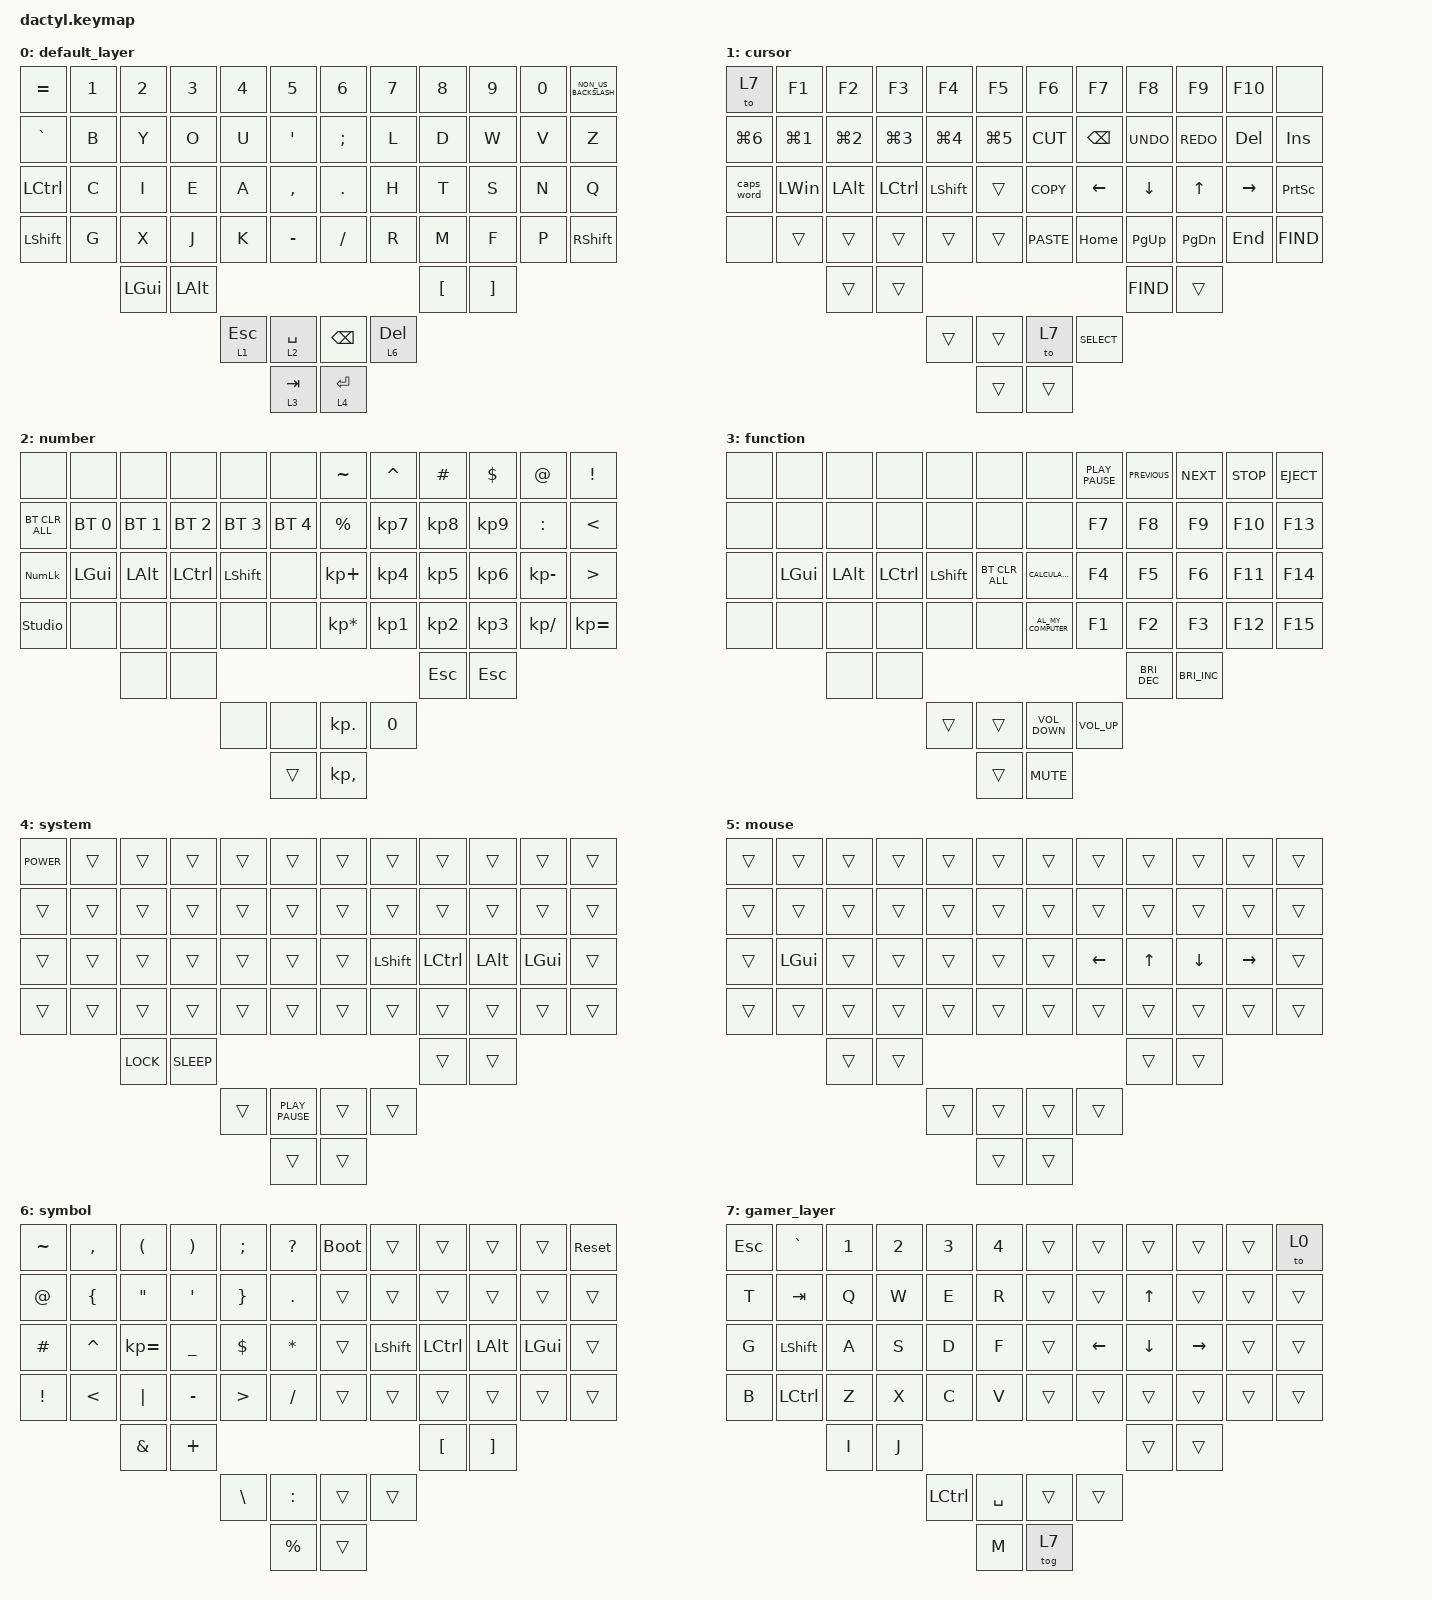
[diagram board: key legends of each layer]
#include <behaviors.dtsi>
#include <dt-bindings/zmk/bt.h>
#include <dt-bindings/zmk/keys.h>

#define DEFAULT 0
#define LOWER 1
#define RAISE 2
#define GAMER 3
#define BOTH 4

/ {
    keymap {
        compatible = "zmk,keymap";

        default_layer {
            bindings = <
&kp EQUAL   &kp N1  &kp N2        &kp N3        &kp N4        &kp N5         &kp N6         &kp N7        &kp N8            &kp N9             &kp N0  &kp NON_US_BACKSLASH
&kp GRAVE   &kp B   &kp Y         &kp O         &kp U         &kp SQT        &kp SEMICOLON  &kp L         &kp D             &kp W              &kp V   &kp Z
&kp LCTRL   &kp C   &kp I         &kp E         &kp A         &kp COMMA      &kp PERIOD     &kp H         &kp T             &kp S              &kp N   &kp Q
&kp LSHIFT  &kp G   &kp X         &kp J         &kp K         &kp MINUS      &kp SLASH      &kp R         &kp M             &kp F              &kp P   &kp RSHIFT
                    &kp LEFT_GUI  &kp LEFT_ALT                                                            &kp LEFT_BRACKET  &kp RIGHT_BRACKET
                                                &lt 1 ESCAPE  &lt 2 SPACE    &kp BACKSPACE  &lt 6 DELETE
                                                              &lt 3 TAB      &lt 4 ENTER
            >;
        };

        cursor {
            bindings = <
&to 7             &kp F1            &kp F2            &kp F3            &kp F4            &kp F5        &kp F6       &kp F7         &kp F8          &kp F9         &kp F10     &none
&kp LG(NUMBER_6)  &kp LG(NUMBER_1)  &kp LG(NUMBER_2)  &kp LG(NUMBER_3)  &kp LG(NUMBER_4)  &kp LG(N5)    &kp K_CUT    &kp BACKSPACE  &kp K_UNDO      &kp K_REDO     &kp DELETE  &kp INS
&caps_word        &kp LEFT_WIN      &kp LEFT_ALT      &kp LEFT_CONTROL  &kp LEFT_SHIFT    &trans        &kp K_COPY   &kp LEFT       &kp DOWN_ARROW  &kp UP_ARROW   &kp RIGHT   &kp PRINTSCREEN
&none             &trans            &trans            &trans            &trans            &trans        &kp K_PASTE  &kp HOME       &kp PAGE_UP     &kp PAGE_DOWN  &kp END     &kp K_FIND
                                    &trans            &trans                                                                        &kp K_FIND      &trans
                                                                        &trans            &trans        &to 7        &kp K_SELECT
                                                                                          &trans        &trans
            >;
        };

        number {
            bindings = <
&none           &none         &none         &none         &none         &none           &kp TILDE        &kp CARET        &kp POUND        &kp DOLLAR       &kp AT_SIGN      &kp EXCLAMATION
&bt BT_CLR_ALL  &bt BT_SEL 0  &bt BT_SEL 1  &bt BT_SEL 2  &bt BT_SEL 3  &bt BT_SEL 4    &kp PERCENT      &kp KP_NUMBER_7  &kp KP_NUMBER_8  &kp KP_NUMBER_9  &kp COLON        &kp LESS_THAN
&kp KP_NUMLOCK  &kp LGUI      &kp LALT      &kp LCTRL     &kp LSHFT     &none           &kp KP_PLUS      &kp KP_NUMBER_4  &kp KP_NUMBER_5  &kp KP_NUMBER_6  &kp KP_SUBTRACT  &kp GREATER_THAN
&studio_unlock           &none         &none         &none         &none         &none           &kp KP_MULTIPLY  &kp KP_NUMBER_1  &kp KP_NUMBER_2  &kp KP_NUMBER_3  &kp KP_DIVIDE    &kp KP_EQUAL
                              &none         &none                                                                         &kp ESC          &kp ESC
                                                          &none         &none           &kp KP_DOT       &kp N0
                                                                        &trans          &kp KP_COMMA
            >;
        };

        function {
            bindings = <
&none  &none     &none     &none      &none      &none             &none                 &kp K_PLAY_PAUSE  &kp K_PREVIOUS        &kp K_NEXT            &kp K_STOP  &kp K_EJECT
&none  &none     &none     &none      &none      &none             &none                 &kp F7            &kp F8                &kp F9                &kp F10     &kp F13
&none  &kp LGUI  &kp LALT  &kp LCTRL  &kp LSHFT  &bt BT_CLR_ALL    &kp K_CALCULATOR      &kp F4            &kp F5                &kp F6                &kp F11     &kp F14
&none  &none     &none     &none      &none      &none             &kp C_AL_MY_COMPUTER  &kp F1            &kp F2                &kp F3                &kp F12     &kp F15
                 &none     &none                                                                           &kp C_BRIGHTNESS_DEC  &kp C_BRIGHTNESS_INC
                                      &trans     &trans            &kp K_VOLUME_DOWN     &kp K_VOLUME_UP
                                                 &trans            &kp C_MUTE
            >;
        };

        system {
            bindings = <
&kp K_POWER  &trans  &trans      &trans       &trans  &trans              &trans  &trans     &trans     &trans    &trans    &trans
&trans       &trans  &trans      &trans       &trans  &trans              &trans  &trans     &trans     &trans    &trans    &trans
&trans       &trans  &trans      &trans       &trans  &trans              &trans  &kp LSHFT  &kp LCTRL  &kp LALT  &kp LGUI  &trans
&trans       &trans  &trans      &trans       &trans  &trans              &trans  &trans     &trans     &trans    &trans    &trans
                     &kp K_LOCK  &kp K_SLEEP                                                 &trans     &trans
                                              &trans  &kp K_PLAY_PAUSE    &trans  &trans
                                                      &trans              &trans
            >;
        };

        mouse {
            bindings = <
&trans  &trans        &trans  &trans  &trans  &trans    &trans  &trans          &trans        &trans    &trans     &trans
&trans  &trans        &trans  &trans  &trans  &trans    &trans  &trans          &trans        &trans    &trans     &trans
&trans  &kp LEFT_GUI  &trans  &trans  &trans  &trans    &trans  &kp LEFT_ARROW  &kp UP_ARROW  &kp DOWN  &kp RIGHT  &trans
&trans  &trans        &trans  &trans  &trans  &trans    &trans  &trans          &trans        &trans    &trans     &trans
                      &trans  &trans                                            &trans        &trans
                                      &trans  &trans    &trans  &trans
                                              &trans    &trans
            >;
        };

        symbol {
            bindings = <
&kp TILDE        &kp COMMA       &kp LEFT_PARENTHESIS  &kp RIGHT_PARENTHESIS  &kp SEMICOLON     &kp QUESTION    &bootloader  &trans     &trans     &trans    &trans    &sys_reset
&kp AT_SIGN      &kp LEFT_BRACE  &kp DOUBLE_QUOTES     &kp SINGLE_QUOTE       &kp RIGHT_BRACE   &kp PERIOD      &trans       &trans     &trans     &trans    &trans    &trans
&kp POUND        &kp CARET       &kp KP_EQUAL          &kp UNDERSCORE         &kp DOLLAR        &kp STAR        &trans       &kp LSHFT  &kp LCTRL  &kp LALT  &kp LGUI  &trans
&kp EXCLAMATION  &kp LESS_THAN   &kp PIPE              &kp MINUS              &kp GREATER_THAN  &kp SLASH       &trans       &trans     &trans     &trans    &trans    &trans
                                 &kp AMPS              &kp PLUS                                                                         &kp LBKT   &kp RBKT
                                                                              &kp BACKSLASH     &kp COLON       &trans       &trans
                                                                                                &kp PERCENT     &trans
            >;
        };

        gamer_layer {
            bindings = <
&kp ESCAPE  &kp GRAVE   &kp N1  &kp N2  &kp N3     &kp N4       &trans  &trans    &trans    &trans     &trans  &to 0
&kp T       &kp TAB     &kp Q   &kp W   &kp E      &kp R        &trans  &trans    &kp UP    &trans     &trans  &trans
&kp G       &kp LSHIFT  &kp A   &kp S   &kp D      &kp F        &trans  &kp LEFT  &kp DOWN  &kp RIGHT  &trans  &trans
&kp B       &kp LCTRL   &kp Z   &kp X   &kp C      &kp V        &trans  &trans    &trans    &trans     &trans  &trans
                        &kp I   &kp J                                             &trans    &trans
                                        &kp LCTRL  &kp SPACE    &trans  &trans
                                                   &kp M        &tog 7
            >;
        };
    };
};
